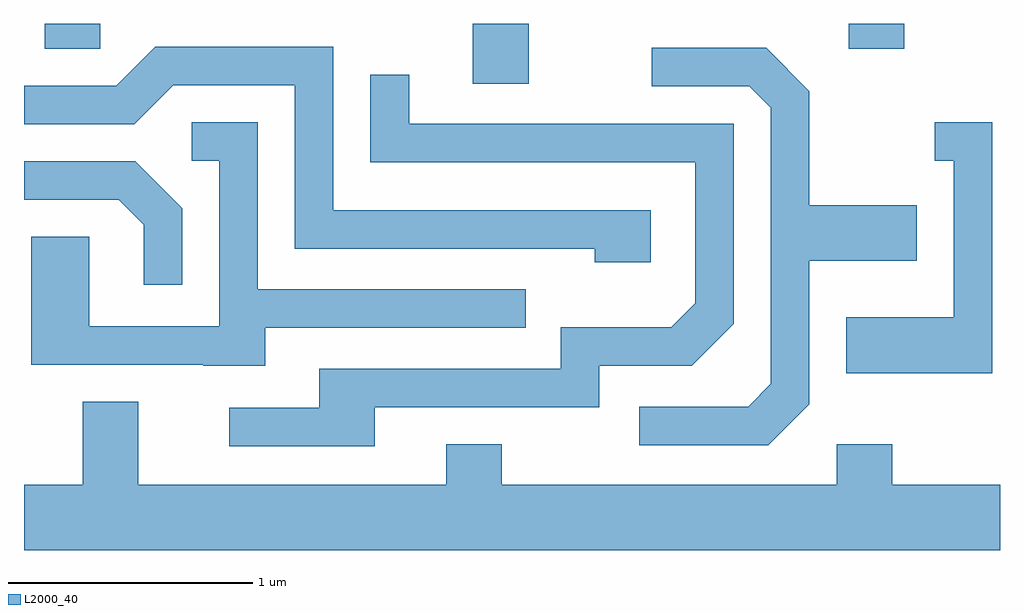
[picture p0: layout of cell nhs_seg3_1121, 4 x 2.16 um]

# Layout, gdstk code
import gdstk
lib = gdstk.Library(unit=1e-6, precision=1e-09)
def R(c, l, rs):  # rectangles x0, y0, x1, y1
    for r in rs: c.add(gdstk.rectangle(r[:2], r[2:], *l))
def P(c, l, *ps):  # polygons
    for p in ps: c.add(gdstk.Polygon(p, *l))
L2000_40 = (2000, 40)

nhs_seg3_1121 = lib.new_cell('nhs_seg3_1121')
R(nhs_seg3_1121, L2000_40, [(219.451,1185.646,219.679,1185.892), (217.696,1185.791,217.924,1185.892), (220.991,1185.791,221.219,1185.892)])
P(nhs_seg3_1121, L2000_40, [(220.179,1185.129),(218.879,1185.129),(218.879,1185.799),(218.149,1185.799),(217.989,1185.639),(217.611,1185.639),(217.611,1185.481),(218.062,1185.481),(218.222,1185.641),(218.721,1185.641),(218.721,1184.971),(219.951,1184.971),(219.951,1184.916),(220.179,1184.916)],
  [(220.829,1184.334),(220.829,1184.921),(221.269,1184.921),(221.269,1185.149),(220.829,1185.149),(220.829,1185.617),(220.652,1185.794),(220.183,1185.794),(220.183,1185.636),(220.584,1185.636),(220.671,1185.549),(220.671,1184.417),(220.579,1184.324),(220.133,1184.324),(220.133,1184.166),(220.662,1184.166)],
  [(219.049,1184.321),(219.969,1184.321),(219.969,1184.491),(220.347,1184.491),(220.519,1184.664),(220.519,1185.484),(219.189,1185.484),(219.189,1185.683),(219.031,1185.683),(219.031,1185.326),(220.361,1185.326),(220.361,1184.747),(220.264,1184.649),(219.811,1184.649),(219.811,1184.479),(218.821,1184.479),(218.821,1184.319),(218.453,1184.319),(218.453,1184.161),(219.049,1184.161)],
  [(221.579,1185.489),(221.343,1185.489),(221.343,1185.331),(221.421,1185.331),(221.421,1184.689),(220.981,1184.689),(220.981,1184.461),(221.579,1184.461)],
  [(218.599,1184.646),(219.668,1184.646),(219.668,1184.804),(218.569,1184.804),(218.569,1185.489),(218.298,1185.489),(218.298,1185.331),(218.411,1185.331),(218.411,1184.654),(217.879,1184.654),(217.879,1185.019),(217.641,1185.019),(217.641,1184.496),(218.345,1184.496),(218.345,1184.491),(218.599,1184.491)],
  [(218.259,1185.137),(218.067,1185.329),(217.611,1185.329),(217.611,1185.171),(217.999,1185.171),(218.101,1185.069),(218.101,1184.823),(218.259,1184.823)],
  [(221.611,1184.004),(221.169,1184.004),(221.169,1184.169),(220.941,1184.169),(220.941,1184.004),(219.569,1184.004),(219.569,1184.169),(219.341,1184.169),(219.341,1184.004),(218.079,1184.004),(218.079,1184.344),(217.851,1184.344),(217.851,1184.004),(217.611,1184.004),(217.611,1183.736),(221.611,1183.736)])

lib.write_gds('nhs_seg3_1121.gds')
